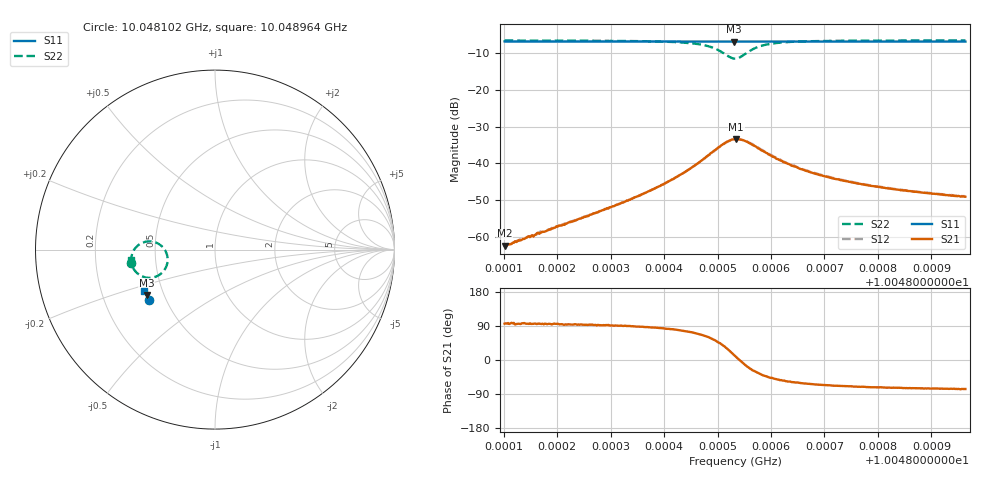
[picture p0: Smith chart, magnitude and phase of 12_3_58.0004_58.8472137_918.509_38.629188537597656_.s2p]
#  HZ  S  RI  R  50.00
! Rohde & Schwarz Vector Network Analyzer
! Rohde-Schwarz,ZNB20-2Port,1311601062101988,3.16
! Created: UTC 3/21/2024, 12:50:50 AM
! freq[Hz]  re:S11  im:S11  re:S21  im:S21  re:S12  im:S12  re:S22  im:S22
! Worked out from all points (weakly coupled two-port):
!   401 points, 10.048102 GHz to 10.048964 GHz, reference 50 ohm
!   highest |S21| = -33.38 dB at 10.048535 GHz (marker M1); lowest = -62.4 dB at 10.048102 GHz (marker M2)
!   lowest |S11| = -6.8 dB at 10.048531 GHz (marker M3), VSWR 2.68, Z = 20.1 - j12.9 ohm
!   |S11| at or under -10 dB: nowhere
!   |S22| runs from -11.4 to -6.5 dB; largest |S21 - S12| = 0.002
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1.00481017e10  -0.3655 -0.2783  -7.8e-05 0.000752  -0.000139 0.000747  -0.4678 -0.0722
1.00482461e10  -0.3712 -0.2704  -0.000112 0.0018  -0.000232 0.00181  -0.4676 -0.0525
1.00483366e10  -0.3745 -0.2652  1.45e-05 0.00321  -0.000129 0.00323  -0.4646 -0.0333
1.00483904e10  -0.3765 -0.2621  0.000463 0.00485  0.00017 0.00486  -0.4584 -0.015
1.00484357e10  -0.3782 -0.2593  0.00165 0.00719  0.00123 0.00726  -0.4439 0.00851
1.00484766e10  -0.3792 -0.2565  0.00527 0.0107  0.0046 0.0108  -0.4044 0.0381
1.00484917e10  -0.3793 -0.2555  0.00849 0.0118  0.00756 0.0122  -0.3738 0.0454
1.00485068e10  -0.3797 -0.2545  0.0131 0.0117  0.012 0.0124  -0.3308 0.0397
1.00485197e10  -0.3795 -0.2539  0.0177 0.00928  0.0168 0.0106  -0.2901 0.0124
1.00485305e10  -0.3793 -0.2536  0.0206 0.00499  0.02 0.00676  -0.2672 -0.0296
1.00485327e10  -0.3795 -0.2536  0.0209 0.00399  0.0204 0.00588  -0.2651 -0.0395
1.00485348e10  -0.3794 -0.2538  0.0212 0.0029  0.0209 0.00492  -0.2641 -0.0495
1.00485456e10  -0.3797 -0.2537  0.0208 -0.00209  0.021 -0.000259  -0.273 -0.0977
1.00485607e10  -0.3806 -0.2534  0.0173 -0.00722  0.0181 -0.00583  -0.3119 -0.1419
1.00485736e10  -0.3812 -0.2528  0.014 -0.00898  0.0148 -0.00799  -0.3483 -0.1557
1.00485909e10  -0.3823 -0.2521  0.0102 -0.00948  0.011 -0.00889  -0.3858 -0.1554
1.00486253e10  -0.3841 -0.2501  0.006 -0.00842  0.00644 -0.00825  -0.4265 -0.1371
1.00486771e10  -0.3861 -0.2471  0.00332 -0.00668  0.00379 -0.00658  -0.4503 -0.1127
1.00487439e10  -0.3886 -0.2433  0.00201 -0.00532  0.00235 -0.00523  -0.4614 -0.0925
1.00488214e10  -0.3912 -0.2386  0.00135 -0.00433  0.00161 -0.00432  -0.4665 -0.0773
1.00488861e10  -0.3933 -0.235  0.00101 -0.00384  0.00128 -0.00384  -0.4689 -0.0677
1.00489637e10  -0.3959 -0.2304  0.00082 -0.00342  0.001 -0.00341  -0.4707 -0.0582
